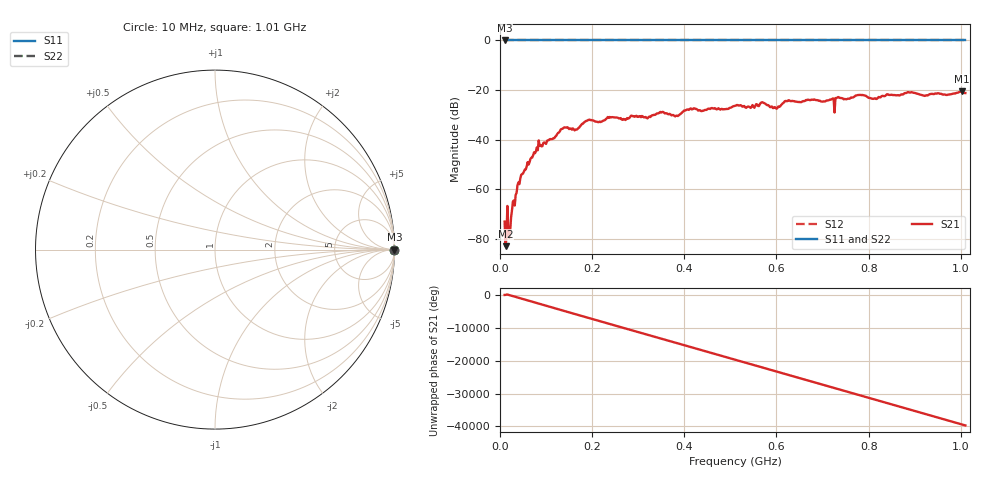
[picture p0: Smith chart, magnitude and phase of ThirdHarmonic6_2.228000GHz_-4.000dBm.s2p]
! 8/17/2025 2:30:47 AM
! C:\ANRITSUVNA\TEMP\TEMP.S2P
! CHANNEL.1
! TR.MEASUREMENT
! RAW.DATA
! RF.CORRECTION.OFF
! AVERAGING.OFF
! IF.BANDWIDTH: 5KHZ
! SWEEPTYPE:  FREQ.SWEEP(Linear)
! Reference Plane Port Info
! PORT:  PORT1  PORT2
! DISTANCE:  0  m  0  m
! TIME:  0  s  0  s
! PHASE.OFFSET:  0  deg.  0  deg.
! LOSS:  0  dB  0  dB
! REF.LOSS:  0  dB  0  dB
! REF.FREQ:  0  Hz  0  Hz
! Power Info
! POWER:  -20  dBm  -20  dBm
! EFF.POWER:  -20  dBm  -20  dBm
! SOURCE.ATTEN:  0  dB  0  dB
! TEST.ATTEN:  0  dB  0  dB
# GHZ S RI R 50.0
! FREQ.GHZ  S11RE  S11IM  S21RE  S21IM  S12RE  S12IM  S22RE  S22IM
!; PortSelection: Port_12
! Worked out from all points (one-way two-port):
!   501 points, 10 MHz to 1.01 GHz, reference 50 ohm
!   highest |S21| = -20.57 dB at 1.002 GHz (marker M1); lowest = -83.0 dB at 12 MHz (marker M2)
!   lowest |S11| = 0.0 dB at 10 MHz (marker M3)
!   |S11| at or under -10 dB: nowhere
!   |S22| runs from 0.0 to 0.0 dB; largest |S21 - S12| = 1.1
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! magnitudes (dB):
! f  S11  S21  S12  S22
! 10 MHz  0.0  -73.0  0.0  0.0
! 12 MHz  0.0  -83.0  0.0  0.0
! 16 MHz  0.0  -66.7  0.0  0.0
! 22 MHz  0.0  -77.3  0.0  0.0
! 30 MHz  0.0  -64.5  0.0  0.0
! 42 MHz  0.0  -58.0  0.0  0.0
! 84 MHz  0.0  -40.3  0.0  0.0
! 136 MHz  0.0  -35.6  0.0  0.0
! 164 MHz  0.0  -35.9  0.0  0.0
! 178 MHz  0.0  -33.7  0.0  0.0
! 344 MHz  0.0  -29.4  0.0  0.0
! 384 MHz  0.0  -30.4  0.0  0.0
! 410 MHz  0.0  -28.0  0.0  0.0
! 510 MHz  0.0  -26.4  0.0  0.0
! 570 MHz  0.0  -24.9  0.0  0.0
! 598 MHz  0.0  -27.1  0.0  0.0
! 622 MHz  0.0  -24.5  0.0  0.0
! 678 MHz  0.0  -23.9  0.0  0.0
! 722 MHz  0.0  -23.4  0.0  0.0
! 844 MHz  0.0  -22.0  0.0  0.0
! 1.002 GHz  0.0  -20.6  0.0  0.0
! 1.01 GHz  0.0  -21.2  0.0  0.0
